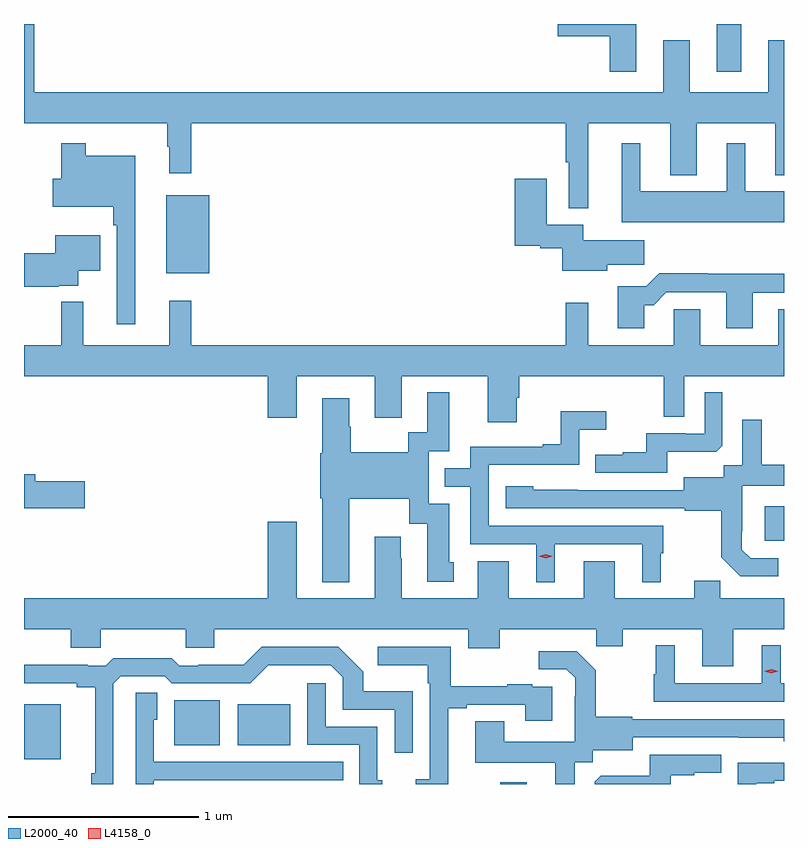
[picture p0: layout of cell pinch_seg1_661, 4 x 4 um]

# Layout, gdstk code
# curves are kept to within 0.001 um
import gdstk
lib = gdstk.Library(unit=1e-6, precision=1e-09)
def R(c, l, rs):  # rectangles x0, y0, x1, y1
    for r in rs: c.add(gdstk.rectangle(r[:2], r[2:], *l))
def P(c, l, *ps):  # polygons
    for p in ps: c.add(gdstk.Polygon(p, *l))
L2000_40 = (2000, 40)
L4158_0 = (4158, 0)

pinch_seg1_661 = lib.new_cell('pinch_seg1_661')
R(pinch_seg1_661, L2000_40, [(841.247,577.558,841.387,577.567), (838.74,577.688,838.933,577.978), (839.531,577.763,839.77,577.999), (839.864,577.763,840.142,577.978), (842.639,578.838,842.74,579.019), (839.489,580.247,839.716,580.657), (842.387,581.307,842.515,581.558)])
P(pinch_seg1_661, L2000_40, [(841.711,581.036),(842.141,581.036),(842.141,580.763),(842.281,580.763),(842.281,581.036),(842.693,581.036),(842.693,580.763),(842.74,580.763),(842.74,581.473),(842.657,581.473),(842.657,581.2),(842.245,581.2),(842.245,581.473),(842.105,581.473),(842.105,581.2),(838.795,581.2),(838.795,581.558),(838.74,581.558),(838.74,581.036),(839.493,581.036),(839.493,580.913),(839.504,580.913),(839.504,580.773),(839.621,580.773),(839.621,581.036),(841.59,581.036),(841.59,580.831),(841.607,580.831),(841.607,580.587),(841.711,580.587)],
  [(841.963,581.558),(841.548,581.558),(841.548,581.494),(841.823,581.494),(841.823,581.307),(841.963,581.307)],
  [(842.74,580.678),(842.536,580.678),(842.536,580.93),(842.438,580.93),(842.438,580.678),(841.984,580.678),(841.984,580.93),(841.886,580.93),(841.886,580.514),(842.74,580.514)],
  [(839.326,580.864),(839.065,580.864),(839.065,580.93),(838.936,580.93),(838.936,580.743),(838.892,580.743),(838.892,580.595),(839.209,580.595),(839.209,580.499),(839.229,580.499),(839.229,579.978),(839.326,579.978)],
  [(841.81,580.291),(842.005,580.291),(842.005,580.42),(841.684,580.42),(841.684,580.501),(841.492,580.501),(841.492,580.744),(841.322,580.744),(841.322,580.391),(841.458,580.391),(841.458,580.379),(841.574,580.379),(841.574,580.259),(841.81,580.259)],
  [(838.922,580.181),(839.026,580.181),(839.026,580.259),(839.14,580.259),(839.14,580.447),(838.904,580.447),(838.904,580.352),(838.74,580.352),(838.74,580.176),(838.922,580.176)],
  [(842.005,580.079),(842.054,580.079),(842.121,580.146),(842.435,580.146),(842.435,579.957),(842.575,579.957),(842.575,580.143),(842.74,580.143),(842.74,580.244),(842.339,580.244),(842.339,580.247),(842.084,580.247),(842.014,580.177),(841.865,580.177),(841.865,579.957),(842.005,579.957)],
  [(841.333,579.591),(841.346,579.591),(841.346,579.704),(842.106,579.704),(842.106,579.49),(842.214,579.49),(842.214,579.704),(842.74,579.704),(842.74,580.058),(842.711,580.058),(842.711,579.868),(842.299,579.868),(842.299,580.058),(842.16,580.058),(842.16,579.868),(841.711,579.868),(841.711,580.09),(841.59,580.09),(841.59,579.868),(839.621,579.868),(839.621,580.102),(839.504,580.102),(839.504,579.868),(839.051,579.868),(839.051,580.096),(838.937,580.096),(838.937,579.868),(838.74,579.868),(838.74,579.704),(840.023,579.704),(840.023,579.486),(840.175,579.486),(840.175,579.704),(840.587,579.704),(840.587,579.486),(840.727,579.486),(840.727,579.704),(841.181,579.704),(841.181,579.462),(841.333,579.462)],
  [(840.451,579.059),(840.767,579.059),(840.767,578.928),(840.863,578.928),(840.863,578.622),(841.003,578.622),(841.003,578.724),(840.979,578.724),(840.979,579.033),(840.87,579.033),(840.87,579.309),(840.979,579.309),(840.979,579.619),(840.863,579.619),(840.863,579.41),(840.762,579.41),(840.762,579.304),(840.459,579.304),(840.459,579.438),(840.451,579.438),(840.451,579.589),(840.311,579.589),(840.311,579.3),(840.299,579.3),(840.299,579.063),(840.311,579.063),(840.311,578.621),(840.451,578.621)],
  [(842.125,579.308),(842.383,579.308),(842.415,579.339),(842.415,579.619),(842.322,579.619),(842.322,579.402),(842.222,579.402),(842.222,579.405),(842.015,579.405),(842.015,579.304),(841.891,579.304),(841.891,579.292),(841.747,579.292),(841.747,579.195),(842.125,579.195)],
  [(841.534,578.82),(841.994,578.82),(841.994,578.621),(842.092,578.621),(842.092,578.772),(842.104,578.772),(842.104,578.916),(841.185,578.916),(841.185,579.237),(841.662,579.237),(841.662,579.422),(841.804,579.422),(841.804,579.521),(841.564,579.521),(841.564,579.346),(841.469,579.346),(841.469,579.333),(841.089,579.333),(841.089,579.219),(840.955,579.219),(840.955,579.123),(841.089,579.123),(841.089,578.82),(841.436,578.82),(841.436,578.621),(841.534,578.621)],
  [(842.71,578.745),(842.565,578.745),(842.518,578.792),(842.518,578.887),(842.52,578.887),(842.52,579.128),(842.74,579.128),(842.74,579.238),(842.623,579.238),(842.623,579.475),(842.519,579.475),(842.519,579.236),(842.424,579.236),(842.424,579.172),(842.213,579.172),(842.213,579.105),(841.419,579.106),(841.419,579.124),(841.275,579.124),(841.275,579.009),(842.217,579.009),(842.217,578.997),(842.409,578.997),(842.409,578.751),(842.509,578.651),(842.71,578.651)],
  [(839.059,579.152),(838.798,579.152),(838.798,579.188),(838.74,579.188),(838.74,579.01),(839.059,579.01)],
  [(842.473,578.372),(842.74,578.372),(842.74,578.536),(842.405,578.536),(842.405,578.627),(842.267,578.627),(842.267,578.536),(841.849,578.536),(841.849,578.731),(841.685,578.731),(841.685,578.536),(841.291,578.536),(841.291,578.731),(841.127,578.731),(841.127,578.536),(840.727,578.536),(840.727,578.747),(840.724,578.747),(840.724,578.86),(840.587,578.86),(840.587,578.536),(840.175,578.536),(840.175,578.938),(840.023,578.938),(840.023,578.536),(838.74,578.536),(838.74,578.372),(838.985,578.372),(838.985,578.274),(839.145,578.274),(839.145,578.372),(839.59,578.372),(839.59,578.274),(839.74,578.274),(839.74,578.372),(841.079,578.372),(841.079,578.273),(841.243,578.273),(841.243,578.372),(841.753,578.372),(841.753,578.282),(841.891,578.282),(841.891,578.372),(842.309,578.372),(842.309,578.178),(842.473,578.178)],
  [(842.74,578.088),(842.722,578.088),(842.722,578.287),(842.624,578.287),(842.624,578.088),(842.164,578.088),(842.164,578.287),(842.066,578.287),(842.066,578.136),(842.055,578.136),(842.055,577.992),(842.74,577.992)],
  [(840.973,577.956),(841.069,577.956),(841.069,577.974),(841.379,577.974),(841.379,577.89),(841.519,577.89),(841.519,578.07),(841.415,578.07),(841.415,578.083),(841.283,578.083),(841.283,578.072),(840.985,578.072),(840.985,578.28),(840.603,578.28),(840.603,578.183),(840.864,578.183),(840.864,578.087),(840.876,578.087),(840.876,577.582),(840.801,577.582),(840.801,577.558),(840.973,577.558)],
  [(839.211,578.085),(839.25,578.124),(839.481,578.124),(839.517,578.088),(839.931,578.088),(840.026,578.183),(840.354,578.184),(840.417,578.121),(840.417,577.95),(840.69,577.95),(840.69,577.722),(840.786,577.722),(840.786,578.047),(840.525,578.047),(840.525,578.15),(840.394,578.28),(839.991,578.28),(839.897,578.186),(839.656,578.186),(839.656,578.181),(839.556,578.181),(839.517,578.221),(839.209,578.221),(839.169,578.181),(839.075,578.181),(839.075,578.186),(838.74,578.186),(838.74,578.088),(839.018,578.088),(839.018,578.066),(839.114,578.066),(839.114,577.615),(839.095,577.615),(839.095,577.558),(839.211,577.558)],
  [(841.639,577.672),(841.734,577.672),(841.734,577.736),(841.945,577.736),(841.945,577.803),(842.739,577.802),(842.74,577.784),(842.74,577.899),(841.941,577.899),(841.941,577.912),(841.749,577.912),(841.749,578.157),(841.649,578.257),(841.449,578.257),(841.449,578.163),(841.593,578.163),(841.64,578.116),(841.64,578.021),(841.638,578.021),(841.638,577.78),(841.267,577.78),(841.267,577.889),(841.115,577.889),(841.115,577.67),(841.535,577.67),(841.535,577.558),(841.639,577.558)],
  [(840.625,577.578),(840.6,577.578),(840.6,577.86),(840.327,577.86),(840.327,578.089),(840.231,578.089),(840.231,577.764),(840.504,577.764),(840.504,577.558),(840.625,577.558)],
  [(839.424,577.577),(839.741,577.577),(839.741,577.578),(840.419,577.578),(840.419,577.674),(839.424,577.674),(839.424,577.896),(839.44,577.896),(839.44,578.039),(839.328,578.039),(839.328,577.558),(839.424,577.558)],
  [(842.144,577.605),(842.267,577.605),(842.267,577.616),(842.411,577.616),(842.411,577.713),(842.034,577.713),(842.034,577.601),(841.775,577.601),(841.743,577.569),(841.743,577.558),(842.144,577.558)],
  [(842.595,577.563),(842.689,577.563),(842.689,577.575),(842.74,577.575),(842.74,577.671),(842.496,577.671),(842.496,577.558),(842.595,577.558)])
P(pinch_seg1_661, L4158_0, [(842.673,578.142),(842.637,578.151),(842.637,578.152),(842.637,578.152),(842.673,578.162),(842.709,578.152),(842.709,578.152),(842.709,578.151)],
  [(841.485,578.747),(841.449,578.757),(841.449,578.757),(841.449,578.757),(841.485,578.767),(841.521,578.757),(841.521,578.757),(841.521,578.757)])

lib.write_gds('pinch_seg1_661.gds')
